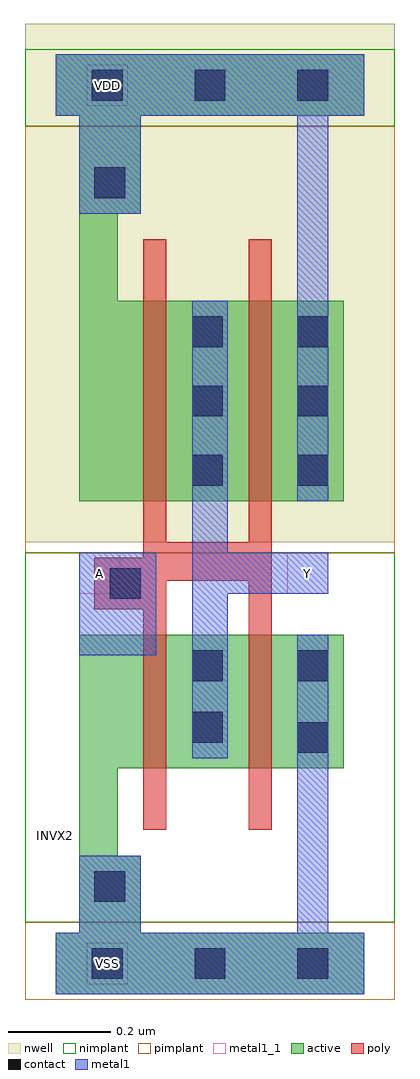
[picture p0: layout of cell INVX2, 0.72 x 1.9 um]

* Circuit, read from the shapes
.subckt INVX2 A VDD VSS Y
M1 Y A VSS VSS nfet w=0.26u l=0.045u m=2
M2 Y A VDD VDD pfet w=0.39u l=0.045u m=2
.ends

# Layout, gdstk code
import gdstk
lib = gdstk.Library(unit=1e-6, precision=5e-10)
def R(c, l, rs):  # rectangles x0, y0, x1, y1
    for r in rs: c.add(gdstk.rectangle(r[:2], r[2:], *l))
def A(c, l, x, y, w, h, nx, ny, dx, dy):  # array of equal rectangles
    R(c, l, [(x+i*dx, y+j*dy, x+i*dx+w, y+j*dy+h) for i in range(nx) for j in range(ny)])
def P(c, l, *ps):  # polygons
    for p in ps: c.add(gdstk.Polygon(p, *l))
active = (1, 0)
nwell = (2, 0)
poly = (3, 0)
nimplant = (4, 0)
pimplant = (5, 0)
contact = (6, 0)
metal1 = (7, 0)
metal1_1 = (7, 1)

invx2 = lib.new_cell('INVX2')
P(invx2, active, [(0.6,0.06),(0.165,0.06),(0.165,0.21),(0.12,0.21),(0.12,0.38),(0.56,0.38),(0.56,0.64),(0.045,0.64),(0.045,0.06),(0,0.06),(0,-0.06),(0.6,-0.06)],
  [(0.6,1.77),(0,1.77),(0,1.65),(0.045,1.65),(0.045,0.9),(0.56,0.9),(0.56,1.29),(0.12,1.29),(0.12,1.46),(0.165,1.46),(0.165,1.65),(0.6,1.65)])
R(invx2, nwell, [(-0.06,0.82,0.66,1.83)])
P(invx2, poly, [(0.17,1.41),(0.215,1.41),(0.215,0.82),(0.375,0.82),(0.375,1.41),(0.42,1.41),(0.42,0.26),(0.375,0.26),(0.375,0.745),(0.215,0.745),(0.215,0.26),(0.17,0.26),(0.17,0.69),(0.075,0.69),(0.075,0.79),(0.17,0.79)])
R(invx2, nimplant, [(-0.06,0.08,0.66,0.8), (-0.06,1.63,0.66,1.78)])
R(invx2, pimplant, [(-0.06,-0.07,0.66,0.08), (-0.06,0.8,0.66,1.63)])
A(invx2, contact, 0.07, -0.03, 0.06, 0.06, 3, 2, 0.2, 1.71)
A(invx2, contact, 0.265, 0.93, 0.06, 0.06, 1, 3, 0, 0.135)
A(invx2, contact, 0.47, 0.93, 0.06, 0.06, 1, 3, 0, 0.135)
R(invx2, contact, [(0.075,0.12,0.135,0.18), (0.47,0.41,0.53,0.47), (0.265,0.43,0.325,0.49), (0.265,0.55,0.325,0.61), (0.47,0.55,0.53,0.61), (0.105,0.71,0.165,0.77), (0.075,1.49,0.135,1.55)])
R(invx2, metal1, [(0.045,0.6,0.195,0.8)])
P(invx2, metal1, [(0.045,0.21),(0.165,0.21),(0.165,0.06),(0.47,0.06),(0.47,0.64),(0.53,0.64),(0.53,0.06),(0.6,0.06),(0.6,-0.06),(0,-0.06),(0,0.06),(0.045,0.06)],
  [(0,1.77),(0.6,1.77),(0.6,1.65),(0.53,1.65),(0.53,0.9),(0.47,0.9),(0.47,1.65),(0.165,1.65),(0.165,1.46),(0.045,1.46),(0.045,1.65),(0,1.65)],
  [(0.53,0.8),(0.335,0.8),(0.335,1.29),(0.265,1.29),(0.265,0.4),(0.335,0.4),(0.335,0.72),(0.53,0.72)])
R(invx2, metal1_1, [(0.06,-0.04,0.14,0.04), (0.045,0.72,0.125,0.8), (0.45,0.72,0.53,0.8), (0.06,1.67,0.14,1.75)])
invx2.add(gdstk.Label('Y', (0.49,0.76), layer=7, texttype=1))
invx2.add(gdstk.Label('A', (0.085,0.76), layer=7, texttype=1))
invx2.add(gdstk.Label('VDD', (0.1,1.71), layer=7, texttype=1))
invx2.add(gdstk.Label('VSS', (0.1,0), layer=7, texttype=1))
invx2.add(gdstk.Label('INVX2', (0,0.25), layer=63, texttype=0))

lib.write_gds('INVX2.gds')
